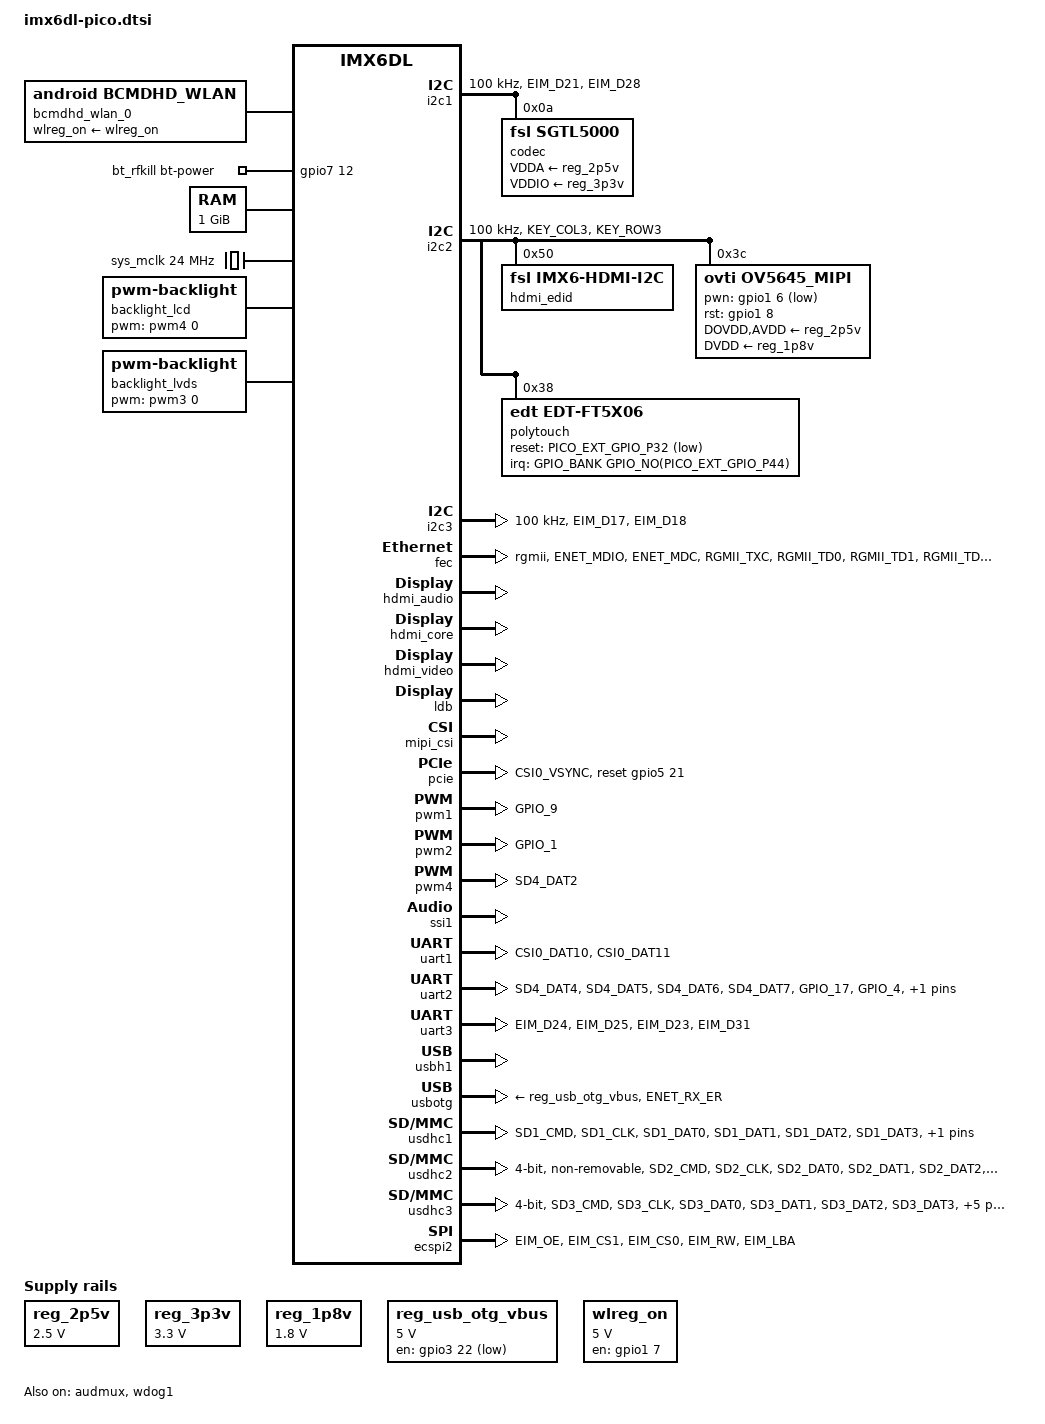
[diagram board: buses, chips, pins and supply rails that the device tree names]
/*
 * Copyright 2016 Technexion Ltd.
 *
 * Author: Wig Cheng <wig.cheng@technexion.com>
 *	   Richard Hu <richard.hu@technexion.com>
 *	   Tapani Utriainen <tapani@technexion.com>
 *
 * This program is free software; you can redistribute it and/or modify
 * it under the terms of the GNU General Public License version 2 as
 * published by the Free Software Foundation.
 *
 */

#include <dt-bindings/gpio/gpio.h>
#include <tnmacro.h>

/* external GPIO */
#define PICO_EXT_GPIO_EXP0 pca9554 0
#define PICO_EXT_GPIO_EXP1 pca9554 1
#define PICO_EXT_GPIO_EXP2 pca9554 2
#define PICO_EXT_GPIO_EXP3 pca9554 3
#define PICO_EXT_GPIO_EXP4 pca9554 4
#define PICO_EXT_GPIO_EXP5 pca9554 5
#define PICO_EXT_GPIO_EXP6 gpio5 30
#define PICO_EXT_GPIO_EXP7 gpio5 27

#define PICO_EXT_GPIO_P24 gpio5 19
#define PICO_EXT_GPIO_P25 gpio5 18
#define PICO_EXT_GPIO_P26 gpio5 21
#define PICO_EXT_GPIO_P28 gpio5 20
#define PICO_EXT_GPIO_P30 gpio5 26
#define PICO_EXT_GPIO_P32 gpio5 27
#define PICO_EXT_GPIO_P34 gpio6 0
#define PICO_EXT_GPIO_P42 gpio5 30
#define PICO_EXT_GPIO_P44 gpio5 31
#define PICO_EXT_GPIO_P48 gpio6 1

#define PICO_EXT_GPIOLED_IOMUX_HOBBIT &pinctrl_ext_gpioled_hobbit

/* audio codec */
#define PICO_AUD_I2S_CHANNEL ssi1
#define PICO_AUD_MUX_INT 1
#define PICO_AUD_MUX_EXT 3
#define PICO_AUD_CLK_SRC clks 201

/* External GPIOs */
#define PICO_EXT_GPIO_IOMUX_HOBBIT &pinctrl_ext_gpio_hobbit
#define PICO_EXT_GPIO_IOMUX_NYMPH &pinctrl_ext_gpio_nymph
#define PICO_EXT_GPIO_IOMUX_DWARF &pinctrl_ext_gpio_dwarf

/* ADS7846 Touch */
#define PICO_EXT_ADS7846_IOMUX_DWARF &pinctrl_ext_gpio_ads7846_touch_irq_dwarf
#define PICO_EXT_ADS7846_IOMUX_HOBBIT &pinctrl_ext_gpio_ads7846_touch_irq_hobbit

/* FT5606 Touch */
#define PICO_EXT_FT5X06_IOMUX_DWARF &pinctrl_ext_gpio_ft5606_touch_irq_dwarf
#define PICO_EXT_FT5X06_IOMUX_HOBBIT &pinctrl_ext_gpio_ft5606_touch_irq_hobbit &pinctrl_ext_gpio_ft5606_touch_reset_hobbit

/* hobbit baseboard bus definitions */
#define PICO_HOBBIT_I2C1 i2c1
#define PICO_HOBBIT_I2C2 i2c2
#define PICO_HOBBIT_I2C3 i2c3
#define PICO_HOBBIT_CSPI2 ecspi2

/* nymph baseboard bus definitions */
#define PICO_NYMPH_I2C1 i2c1
#define PICO_NYMPH_I2C2 i2c2
#define PICO_NYMPH_I2C3 i2c3
#define PICO_NYMPH_CSPI2 ecspi2

/* dwarf baseboard bus definitions */
#define PICO_DWARF_I2C1 i2c1
#define PICO_DWARF_I2C2 i2c2
#define PICO_DWARF_I2C3 i2c3
#define PICO_DWARF_CSPI2 ecspi2

/ {
	aliases {
		mxcfb0 = &mxcfb1;
		mxcfb1 = &mxcfb2;
		mxcfb2 = &mxcfb3;
		mxcfb3 = &mxcfb4;
	};

	chosen {
		stdout-path = &uart1;
	};

	bcmdhd_wlan_0: bcmdhd_wlan@0 {
		compatible = "android,bcmdhd_wlan";
		pinctrl-names = "default";
		pinctrl-0 = <&pinctrl_wifi_ctrl>;
		wlreg_on-supply = <&wlreg_on>;
		status = "okay";
	};

	bt_rfkill {
		compatible = "fsl,mxc_bt_rfkill";
		name = "bt_rfkill";
		bt-power-gpios = <&gpio7 12 0>;
		status = "okay";
	};

	memory: memory {
		reg = <0x10000000 0x40000000>;
	};

	regulators {
		compatible = "simple-bus";
		#address-cells = <1>;
		#size-cells = <0>;

		reg_2p5v: regulator@0 {
			compatible = "regulator-fixed";
			reg = <0>;
			regulator-name = "2P5V";
			regulator-min-microvolt = <2500000>;
			regulator-max-microvolt = <2500000>;
			regulator-always-on;
		};

		reg_3p3v: regulator@1 {
			compatible = "regulator-fixed";
			reg = <1>;
			regulator-name = "3P3V";
			regulator-min-microvolt = <3300000>;
			regulator-max-microvolt = <3300000>;
			regulator-always-on;
		};

		reg_1p8v: 1p8v {
			compatible = "regulator-fixed";
			reg = <2>;
			regulator-name = "1P8V";
			regulator-min-microvolt = <1800000>;
			regulator-max-microvolt = <1800000>;
			regulator-always-on;
		};

		reg_usb_otg_vbus: usb_otg_vbus {
			compatible = "regulator-fixed";
			reg = <3>;
			regulator-name = "usb_otg_vbus";
			regulator-min-microvolt = <5000000>;
			regulator-max-microvolt = <5000000>;
			gpio = <&gpio3 22 GPIO_ACTIVE_HIGH>;
		};

		wlreg_on: wlreg_on {
			compatible = "regulator-fixed";
			regulator-min-microvolt = <5000000>;
			regulator-max-microvolt = <5000000>;
			regulator-name = "wlreg_on";
			gpio = <&gpio1 7 GPIO_ACTIVE_HIGH>;
			enable-active-high;
		};

	};

	gpio-edm {
		compatible = "gpio-edm";

	};

	clocks {
		sys_mclk: clock {
			compatible = "fixed-clock";
			#clock-cells = <0>;
			clock-frequency = <24000000>;
		};
	};

	sound-hdmi {
		compatible = "fsl,imx6q-audio-hdmi",
			     "fsl,imx-audio-hdmi";
		model = "imx-audio-hdmi";
		hdmi-controller = <&hdmi_audio>;
	};

	sound {
		compatible = "fsl,imx-sgtl5000",
			     "fsl,imx-audio-sgtl5000";
		model = "audio-sgtl5000";
		ssi-controller = <&ssi1>;
		audio-codec = <&codec>;
		audio-routing =
			"MIC_IN", "Mic Jack",
			"Mic Jack", "Mic Bias",
			"Headphone Jack", "HP_OUT";
		mux-int-port = <PICO_AUD_MUX_INT>;
		mux-ext-port = <PICO_AUD_MUX_EXT>;
	};

	mxcfb1: fb@0 {
		compatible = "fsl,mxc_sdc_fb";
		disp_dev = "ldb";
		interface_pix_fmt = "RGB24";
		default_bpp = <32>;
		int_clk = <0>;
		late_init = <0>;
		status = "disabled";
	};

	mxcfb2: fb@1 {
		compatible = "fsl,mxc_sdc_fb";
		disp_dev = "hdmi";
		interface_pix_fmt = "RGB24";
		mode_str ="1920x1080M@60";
		default_bpp = <24>;
		int_clk = <0>;
		late_init = <0>;
		status = "disabled";
	};

	mxcfb3: fb@2 {
		compatible = "fsl,mxc_sdc_fb";
		disp_dev = "lcd";
		interface_pix_fmt = "RGB565";
		mode_str ="CLAA-WVGA";
		default_bpp = <16>;
		int_clk = <0>;
		late_init = <0>;
		status = "disabled";
	};

	mxcfb4: fb@3 {
		compatible = "fsl,mxc_sdc_fb";
		disp_dev = "ldb";
		interface_pix_fmt = "RGB666";
		default_bpp = <16>;
		int_clk = <0>;
		late_init = <0>;
		status = "disabled";
	};

	lcd@0 {
		compatible = "fsl,lcd";
		ipu_id = <0>;
		disp_id = <0>;
		default_ifmt = "RGB565";
		pinctrl-names = "default";
		pinctrl-0 = <&pinctrl_ipu1>;
		status = "okay";
	};

	backlight_lcd {
		compatible = "pwm-backlight";
		pwms = <&pwm4 0 5000000>;
		brightness-levels = <0 4 8 16 32 64 128 255>;
		default-brightness-level = <7>;
	};

	backlight_lvds {
		compatible = "pwm-backlight";
		pwms = <&pwm3 0 5000000>;
		brightness-levels = <0 4 8 16 32 64 128 255>;
		default-brightness-level = <7>;
	};

	v4l2_cap_0 {
		compatible = "fsl,imx6q-v4l2-capture";
		ipu_id = <0>;
		csi_id = <0>;
		mclk_source = <0>;
		status = "okay";
	};

	v4l2_out {
		compatible = "fsl,mxc_v4l2_output";
		status = "okay";
	};

};


&audmux {
	pinctrl-names = "default";
	pinctrl-0 = <&pinctrl_audmux>;
	status = "okay";
};

&i2c1 {
	clock-frequency = <100000>;
	pinctrl-names = "default";
	pinctrl-0 = <&pinctrl_i2c1>;
	status = "okay";

	codec: sgtl5000@0a {
		compatible = "fsl,sgtl5000";
		reg = <0x0a>;
		clocks = <&sys_mclk 1>;
		VDDA-supply = <&reg_2p5v>;
		VDDIO-supply = <&reg_3p3v>;
	};

};

&i2c2 {
	clock-frequency = <100000>;
	pinctrl-names = "default";
	pinctrl-0 = <&pinctrl_i2c2>;
	status = "okay";

	hdmi_edid: edid@50 {
		compatible = "fsl,imx6-hdmi-i2c";
		reg = <0x50>;
	};

	ov5645_mipi: ov5645_mipi@3c {
		compatible = "ovti,ov5645_mipi";
		pinctrl-names = "default";
		pinctrl-0 = <&pinctrl_mipi_csi>; /* GPIO_P69:mipi clock, GPIO_P67:power on, GPIO_P65:reset */
		reg = <0x3c>;
		clocks = <&clks 200>;
		clock-names = "csi_mclk";
		DOVDD-supply = <&reg_2p5v>;
		AVDD-supply = <&reg_2p5v>;
		DVDD-supply = <&reg_1p8v>;
		pwn-gpios = <&gpio1 6 1>;
		rst-gpios = <&gpio1 8 0>;
		ipu_id = <0>;
		csi_id = <0>;
		mclk = <24000000>;
		mclk_source = <0>;
	};

        polytouch: edt-ft5x06@38 {
                compatible = "edt,edt-ft5x06";
                pinctrl-names = "default";
                pinctrl-0 = <&pinctrl_touch_screen>;
                reg = <0x38>;
                interrupt-parent = <&GPIO_BANK(PICO_EXT_GPIO_P44)>;
                interrupts = <GPIO_NO(PICO_EXT_GPIO_P44) 0>;
                reset-gpios = <&PICO_EXT_GPIO_P32 GPIO_ACTIVE_LOW>;
                touchscreen-size-x = <800>;
                touchscreen-size-y = <480>;
        };
};

&i2c3 {
	clock-frequency = <100000>;
	pinctrl-names = "default";
	pinctrl-0 = <&pinctrl_i2c3>;
	status = "okay";
};


&iomuxc {
	pinctrl-names = "default";
	pinctrl-0 = <&pinctrl_hog_1>;

	imx6qdl-pico {

		pinctrl_hog_1: hoggrp-1 {
			fsl,pins = <
				MX6QDL_PAD_GPIO_0__CCM_CLKO1     	0x130b0
				MX6QDL_PAD_EIM_D22__USB_OTG_PWR		0x80000000	/* USB Power Enable */
				MX6QDL_PAD_GPIO_2__GPIO1_IO02		0x80000000	/* USDHC1 CD */
				MX6QDL_PAD_EIM_DA9__GPIO3_IO09		0x80000000	/* uSDHC3 CD */
			/*	MX6QDL_PAD_GPIO_0__CCM_CLKO1		0x000b0		 SGTL5000 sys_mclk */
				MX6QDL_PAD_ENET_RXD0__XTALOSC_REF_CLK_32K	0x000b0 /* WiFi BT LPO 32K Hz clock */
				MX6QDL_PAD_SD4_DAT1__GPIO2_IO09		0x4001b0b5
				MX6QDL_PAD_EIM_DA9__GPIO3_IO09		0x4001b0b5
				MX6QDL_PAD_KEY_ROW2__GPIO4_IO11		0x4001b0b5
				MX6QDL_PAD_KEY_COL2__GPIO4_IO10		0x4001b0b5
				MX6QDL_PAD_KEY_ROW4__GPIO4_IO15		0x4001b0b5
				MX6QDL_PAD_KEY_COL4__GPIO4_IO14		0x4001b0b5
				MX6QDL_PAD_CSI0_MCLK__GPIO5_IO19	0x4001b0b5
				MX6QDL_PAD_CSI0_VSYNC__GPIO5_IO21	0x4001b0b5
				MX6QDL_PAD_CSI0_DATA_EN__GPIO5_IO20	0x4001b0b5
				MX6QDL_PAD_CSI0_DAT8__GPIO5_IO26	0x4001b0b5
				MX6QDL_PAD_CSI0_DAT14__GPIO6_IO00	0x4001b0b5
				MX6QDL_PAD_CSI0_DAT15__GPIO6_IO01	0x4001b0b5

			>;
		};


		pinctrl_ext_gpio_hobbit: ext-gpio-grp-hobbit {
			fsl,pins = <
				MX6QDL_PAD_CSI0_MCLK__GPIO5_IO19	0x4001b0b5 /* GPIO5_19 pico pin 24 */
				MX6QDL_PAD_CSI0_VSYNC__GPIO5_IO21	0x4001b0b5 /* GPIO5_21 pico pin 26 */
				MX6QDL_PAD_CSI0_DATA_EN__GPIO5_IO20	0x4001b0b5 /* GPIO5_20 pico pin 28 */
				MX6QDL_PAD_CSI0_DAT8__GPIO5_IO26	0x4001b0b5 /* GPIO5_26 pico pin 30 */
				MX6QDL_PAD_CSI0_DAT14__GPIO6_IO00	0x4001b0b5 /* GPIO6_00 pico pin 34 */
			>;
		};

		pinctrl_ext_gpio_nymph: ext-gpio-grp-nymph {
			fsl,pins = <
				MX6QDL_PAD_CSI0_MCLK__GPIO5_IO19        0x4001b0b5 /* GPIO5_19 pico pin 24 */
				MX6QDL_PAD_CSI0_VSYNC__GPIO5_IO21       0x4001b0b5 /* GPIO5_21 pico pin 26 */
				MX6QDL_PAD_CSI0_DATA_EN__GPIO5_IO20     0x4001b0b5 /* GPIO5_20 pico pin 28 */
				MX6QDL_PAD_CSI0_DAT8__GPIO5_IO26        0x4001b0b5 /* GPIO5_26 pico pin 30 */
				MX6QDL_PAD_CSI0_DAT14__GPIO6_IO00       0x4001b0b5 /* GPIO6_00 pico pin 34 */
			>;
		};

		pinctrl_ext_gpio_dwarf: ext-gpio-grp-dwarf {
			fsl,pins = <
				MX6QDL_PAD_CSI0_MCLK__GPIO5_IO19        0x4001b0b5 /* GPIO5_19 pico pin 24 */
				MX6QDL_PAD_CSI0_VSYNC__GPIO5_IO21       0x4001b0b5 /* GPIO5_21 pico pin 26 */
				MX6QDL_PAD_CSI0_DATA_EN__GPIO5_IO20     0x4001b0b5 /* GPIO5_20 pico pin 28 */
				MX6QDL_PAD_CSI0_DAT8__GPIO5_IO26        0x4001b0b5 /* GPIO5_26 pico pin 30 */
				MX6QDL_PAD_CSI0_DAT14__GPIO6_IO00       0x4001b0b5 /* GPIO6_00 pico pin 34 */
			>;
		};

		pinctrl_ext_gpio_ads7846_touch_irq_dwarf: ext-gpio-ads7846-touch-irq-dwarf {
			fsl,pins = <
				MX6QDL_PAD_CSI0_DAT9__GPIO5_IO27	0x80000000	/* resistive touch irq for Dwarf baseboard */
			>;
		};

		pinctrl_ext_gpio_ads7846_touch_irq_hobbit: ext-gpio-ads7846-touch-irq-hobbit {
			fsl,pins = <
				MX6QDL_PAD_CSI0_DAT15__GPIO6_IO01	0x80000000	/* resistive touch irq for hobbit baseboard */
			>;
		};

		pinctrl_ext_gpio_ft5606_touch_irq_dwarf: ext-gpio-ft5606-touch-irq-dwarf {
			fsl,pins = <
				MX6QDL_PAD_CSI0_DAT12__GPIO5_IO30  0x4001b0b5 /* capacitive touch irq for dwarf baseboard */
			>;
		};

		pinctrl_ext_gpio_ft5606_touch_irq_hobbit: ext-gpio-ft5606-touch-irq-hobbit {
			fsl,pins = <
				MX6QDL_PAD_CSI0_PIXCLK__GPIO5_IO18  0x4001b0b5 /* capacitive touch irq for hobbit baseboard */
			>;
		};

		pinctrl_ext_gpio_ft5606_touch_reset_hobbit: ext-gpio-ft5606-touch-reset-hobbit {
			fsl,pins = <
				MX6QDL_PAD_CSI0_DAT9__GPIO5_IO27  0x4001b0b5 /* capacitive touch reset for hobbit baseboard */
			>;
		};

		pinctrl_gpio: gpiogrp {
			fsl,pins = <
				MX6QDL_PAD_EIM_DA12__GPIO3_IO12   0x4001b0b5 /* GPIO3_12 EDM pin 255 */
				MX6QDL_PAD_EIM_DA11__GPIO3_IO11   0x4001b0b5 /* GPIO3_11 EDM pin 256 */
				MX6QDL_PAD_EIM_DA10__GPIO3_IO10   0x4001b0b5 /* GPIO3_10 EDM pin 257 */
				MX6QDL_PAD_EIM_D27__GPIO3_IO27    0x4001b0b5 /* GPIO3_27 EDM pin 258 */
				MX6QDL_PAD_EIM_D26__GPIO3_IO26    0x4001b0b5 /* GPIO3_26 EDM pin 259 */
				MX6QDL_PAD_EIM_BCLK__GPIO6_IO31   0x4001b0b5 /* GPIO6_31 EDM pin 260 */
				MX6QDL_PAD_EIM_DA8__GPIO3_IO08    0x4001b0b5 /* GPIO3_8  EDM pin 261 */
				MX6QDL_PAD_GPIO_19__GPIO4_IO05    0x4001b0b5 /* GPIO4_5  EDM pin 263 */
				MX6QDL_PAD_SD3_RST__GPIO7_IO08    0x4001b0b5 /* GPIO7_8  EDM pin 264 */
			>;
		};

		pinctrl_wifi_ctrl: wifi_ctrlgrp {
			fsl,pins = <
				MX6QDL_PAD_GPIO_7__GPIO1_IO07	0x000b0		/* wifi-reg-on */
				MX6QDL_PAD_GPIO_16__GPIO7_IO11	0x80000000	/* wifi-host-wake */
			>;
		};

		pinctrl_bt_ctrl: bt_ctrlgrp {
			fsl,pins = <
				MX6QDL_PAD_GPIO_17__GPIO7_IO12	0x000b0		/* bluetooth-reg-on */
				MX6QDL_PAD_GPIO_4__GPIO1_IO04	0x000b0		/* bluetooth-wake */
				MX6QDL_PAD_GPIO_5__GPIO1_IO05   0x000b0		/* bluetooth-host-wake */
			>;
		};

		pinctrl_audmux: audmuxgrp {
			fsl,pins = <
				MX6QDL_PAD_CSI0_DAT7__AUD3_RXD		0x130b0
				MX6QDL_PAD_CSI0_DAT4__AUD3_TXC		0x130b0
				MX6QDL_PAD_CSI0_DAT5__AUD3_TXD		0x110b0
				MX6QDL_PAD_CSI0_DAT6__AUD3_TXFS		0x130b0
			>;
		};

		pinctrl_ecspi1: ecspi1grp {
			fsl,pins = <
				MX6QDL_PAD_EIM_D17__ECSPI1_MISO 0x100b1
				MX6QDL_PAD_EIM_D18__ECSPI1_MOSI 0x100b1
				MX6QDL_PAD_EIM_D16__ECSPI1_SCLK 0x100b1
				MX6QDL_PAD_EIM_EB2__GPIO2_IO30  0x000f0b0 /* cs0 */
			>;
		};

		pinctrl_ecspi2: ecspi2grp {
			fsl,pins = <
				MX6QDL_PAD_EIM_OE__ECSPI2_MISO  0x1b0b1
				MX6QDL_PAD_EIM_CS1__ECSPI2_MOSI 0x1b0b1
				MX6QDL_PAD_EIM_CS0__ECSPI2_SCLK 0x1b0b1
				MX6QDL_PAD_EIM_RW__GPIO2_IO26 0x000f0b0
				MX6QDL_PAD_EIM_LBA__GPIO2_IO27 0x000f0b0
			>;
		};

		pinctrl_enet: enetgrp {
			fsl,pins = <
				MX6QDL_PAD_ENET_MDIO__ENET_MDIO		0x1b0b0
				MX6QDL_PAD_ENET_MDC__ENET_MDC		0x1b0b0
				MX6QDL_PAD_RGMII_TXC__RGMII_TXC		0x1b0b0
				MX6QDL_PAD_RGMII_TD0__RGMII_TD0		0x1b0b0
				MX6QDL_PAD_RGMII_TD1__RGMII_TD1		0x1b0b0
				MX6QDL_PAD_RGMII_TD2__RGMII_TD2		0x1b0b0
				MX6QDL_PAD_RGMII_TD3__RGMII_TD3		0x1b0b0
				MX6QDL_PAD_RGMII_TX_CTL__RGMII_TX_CTL	0x1b0b0
				MX6QDL_PAD_ENET_REF_CLK__ENET_TX_CLK	0x1b0b0
				MX6QDL_PAD_RGMII_RXC__RGMII_RXC		0x1b0b0
				MX6QDL_PAD_RGMII_RD0__RGMII_RD0		0x1b0b0
				MX6QDL_PAD_RGMII_RD1__RGMII_RD1		0x1b0b0
				MX6QDL_PAD_RGMII_RD2__RGMII_RD2		0x1b0b0
				MX6QDL_PAD_RGMII_RD3__RGMII_RD3		0x1b0b0
				MX6QDL_PAD_RGMII_RX_CTL__RGMII_RX_CTL	0x1b0b0
				MX6QDL_PAD_ENET_TX_EN__ENET_TX_EN	0x1b0b0
				MX6QDL_PAD_ENET_RXD1__GPIO1_IO26	0x1f0b1		/* RGMII PHY reset */
			>;
		};

		pinctrl_i2c1: i2c1grp {
			fsl,pins = <
				MX6QDL_PAD_EIM_D21__I2C1_SCL 		0x4001b8b1
				MX6QDL_PAD_EIM_D28__I2C1_SDA 		0x4001b8b1
			>;
		};

		pinctrl_i2c2: i2c2grp {
			fsl,pins = <
				MX6QDL_PAD_KEY_COL3__I2C2_SCL		0x4001b8b1
				MX6QDL_PAD_KEY_ROW3__I2C2_SDA		0x4001b8b1
			>;
		};

		pinctrl_i2c3: i2c3grp {
			fsl,pins = <
				MX6QDL_PAD_EIM_D17__I2C3_SCL 0x4001b8b1
				MX6QDL_PAD_EIM_D18__I2C3_SDA 0x4001b8b1
			>;
		};

		pinctrl_ipu1: ipu1grp {
			fsl,pins = <
				MX6QDL_PAD_DI0_DISP_CLK__IPU1_DI0_DISP_CLK 0x10
				MX6QDL_PAD_DI0_PIN15__IPU1_DI0_PIN15       0x10
				MX6QDL_PAD_DI0_PIN2__IPU1_DI0_PIN02        0x10
				MX6QDL_PAD_DI0_PIN3__IPU1_DI0_PIN03        0x10
				MX6QDL_PAD_DI0_PIN4__IPU1_DI0_PIN04        0x80000000
				MX6QDL_PAD_DISP0_DAT0__IPU1_DISP0_DATA00   0x10
				MX6QDL_PAD_DISP0_DAT1__IPU1_DISP0_DATA01   0x10
				MX6QDL_PAD_DISP0_DAT2__IPU1_DISP0_DATA02   0x10
				MX6QDL_PAD_DISP0_DAT3__IPU1_DISP0_DATA03   0x10
				MX6QDL_PAD_DISP0_DAT4__IPU1_DISP0_DATA04   0x10
				MX6QDL_PAD_DISP0_DAT5__IPU1_DISP0_DATA05   0x10
				MX6QDL_PAD_DISP0_DAT6__IPU1_DISP0_DATA06   0x10
				MX6QDL_PAD_DISP0_DAT7__IPU1_DISP0_DATA07   0x10
				MX6QDL_PAD_DISP0_DAT8__IPU1_DISP0_DATA08   0x10
				MX6QDL_PAD_DISP0_DAT9__IPU1_DISP0_DATA09   0x10
				MX6QDL_PAD_DISP0_DAT10__IPU1_DISP0_DATA10  0x10
				MX6QDL_PAD_DISP0_DAT11__IPU1_DISP0_DATA11  0x10
				MX6QDL_PAD_DISP0_DAT12__IPU1_DISP0_DATA12  0x10
				MX6QDL_PAD_DISP0_DAT13__IPU1_DISP0_DATA13  0x10
				MX6QDL_PAD_DISP0_DAT14__IPU1_DISP0_DATA14  0x10
				MX6QDL_PAD_DISP0_DAT15__IPU1_DISP0_DATA15  0x10
				MX6QDL_PAD_DISP0_DAT16__IPU1_DISP0_DATA16  0x10
				MX6QDL_PAD_DISP0_DAT17__IPU1_DISP0_DATA17  0x10
				MX6QDL_PAD_DISP0_DAT18__IPU1_DISP0_DATA18  0x10
				MX6QDL_PAD_DISP0_DAT19__IPU1_DISP0_DATA19  0x10
				MX6QDL_PAD_DISP0_DAT20__IPU1_DISP0_DATA20  0x10
				MX6QDL_PAD_DISP0_DAT21__IPU1_DISP0_DATA21  0x10
				MX6QDL_PAD_DISP0_DAT22__IPU1_DISP0_DATA22  0x10
				MX6QDL_PAD_DISP0_DAT23__IPU1_DISP0_DATA23  0x10
			>;
		};

		pinctrl_pwm1: pwm1grp {
			fsl,pins = <
				MX6QDL_PAD_GPIO_9__PWM1_OUT 0x1b0b1
			>;
		};

		pinctrl_pwm2: pwm2grp {
			fsl,pins = <
				MX6QDL_PAD_GPIO_1__PWM2_OUT 0x1b0b1
			>;
		};

		pinctrl_pwm3: pwm3grp {
			fsl,pins = <
				MX6QDL_PAD_SD4_DAT1__PWM3_OUT 0x1b0b1
			>;
		};

		pinctrl_pwm4: pwm4grp {
			fsl,pins = <
				MX6QDL_PAD_SD4_DAT2__PWM4_OUT 0x1b0b1
			>;
		};

		pinctrl_uart1: uart1grp {
			fsl,pins = <
				MX6QDL_PAD_CSI0_DAT10__UART1_TX_DATA	0x1b0b1
				MX6QDL_PAD_CSI0_DAT11__UART1_RX_DATA	0x1b0b1
			>;
		};

		pinctrl_uart2: uart2grp {
			fsl,pins = <
				MX6QDL_PAD_SD4_DAT4__UART2_RX_DATA 0x1b0b1
				MX6QDL_PAD_SD4_DAT5__UART2_RTS_B 0x1b0b1
				MX6QDL_PAD_SD4_DAT6__UART2_CTS_B 0x1b0b1
				MX6QDL_PAD_SD4_DAT7__UART2_TX_DATA 0x1b0b1
			>;
		};

		pinctrl_uart3: uart3grp {
			fsl,pins = <
				MX6QDL_PAD_EIM_D24__UART3_TX_DATA	0x1b0b1
				MX6QDL_PAD_EIM_D25__UART3_RX_DATA	0x1b0b1
				MX6QDL_PAD_EIM_D23__UART3_CTS_B		0x1b0b1
				MX6QDL_PAD_EIM_D31__UART3_RTS_B   0x1b0b1
			>;
		};

		pinctrl_usbotg: usbotggrp {
			fsl,pins = <
				MX6QDL_PAD_ENET_RX_ER__USB_OTG_ID	0x17059
			>;
		};

		pinctrl_usdhc1: usdhc1grp {
			fsl,pins = <
				MX6QDL_PAD_SD1_CMD__SD1_CMD		0x17071
				MX6QDL_PAD_SD1_CLK__SD1_CLK		0x17071
				MX6QDL_PAD_SD1_DAT0__SD1_DATA0		0x17071
				MX6QDL_PAD_SD1_DAT1__SD1_DATA1		0x17071
				MX6QDL_PAD_SD1_DAT2__SD1_DATA2		0x17071
				MX6QDL_PAD_SD1_DAT3__SD1_DATA3		0x17071
			>;
		};

		pinctrl_usdhc2: usdhc2grp {
			fsl,pins = <
				MX6QDL_PAD_SD2_CMD__SD2_CMD		0x17059
				MX6QDL_PAD_SD2_CLK__SD2_CLK		0x10059
				MX6QDL_PAD_SD2_DAT0__SD2_DATA0		0x17059
				MX6QDL_PAD_SD2_DAT1__SD2_DATA1		0x17059
				MX6QDL_PAD_SD2_DAT2__SD2_DATA2		0x17059
				MX6QDL_PAD_SD2_DAT3__SD2_DATA3		0x17059
			>;
		};

		pinctrl_usdhc3: usdhc3grp {
			fsl,pins = <
				MX6QDL_PAD_SD3_CMD__SD3_CMD		0x17059
				MX6QDL_PAD_SD3_CLK__SD3_CLK		0x10059
				MX6QDL_PAD_SD3_DAT0__SD3_DATA0		0x17059
				MX6QDL_PAD_SD3_DAT1__SD3_DATA1		0x17059
				MX6QDL_PAD_SD3_DAT2__SD3_DATA2		0x17059
				MX6QDL_PAD_SD3_DAT3__SD3_DATA3		0x17059
		/* The below pins are NC on SD version, but used on eMMC version */
				MX6QDL_PAD_SD3_DAT4__SD3_DATA4		0x17059
				MX6QDL_PAD_SD3_DAT5__SD3_DATA5		0x17059
				MX6QDL_PAD_SD3_DAT6__SD3_DATA6		0x17059
				MX6QDL_PAD_SD3_DAT7__SD3_DATA7		0x17059
			>;
		};

		pinctrl_pcie_reset: pciegrp {
			fsl,pins = <
				MX6QDL_PAD_CSI0_VSYNC__GPIO5_IO21 0x130b0			/* PCIE_nRST */
			>;
		};

		pinctrl_flexcan1: flexcan1grp {
			fsl,pins = <
				MX6QDL_PAD_KEY_COL2__FLEXCAN1_TX 0x80000000
				MX6QDL_PAD_KEY_ROW2__FLEXCAN1_RX 0x80000000
			>;
		};

		pinctrl_flexcan2: flexcan2grp {
			fsl,pins = <
				MX6QDL_PAD_KEY_COL4__FLEXCAN2_TX 0x80000000
				MX6QDL_PAD_KEY_ROW4__FLEXCAN2_RX 0x80000000
			>;
		};

		pinctrl_ext_gpioled_hobbit: gpioledgrp {
			fsl,pins = <
				MX6QDL_PAD_CSI0_DAT13__GPIO5_IO31 0x130b0
			>;
		};

		pinctrl_mipi_csi: mipicsigrp {
			fsl,pins = <
				MX6QDL_PAD_GPIO_6__GPIO1_IO06		0x0b0b0		/* ov5640 mipi powerdown */
				MX6QDL_PAD_GPIO_8__GPIO1_IO08		0x0b0b0		/* ov5640 mipi reset */
				MX6QDL_PAD_GPIO_3__CCM_CLKO2		0x000b0		/* ov5640 mclk */
			>;
		};

		pinctrl_touch_screen:touchscreen {
			fsl,pins = <
				MX6QDL_PAD_CSI0_DAT13__GPIO5_IO31	0x15		/* interrupt */
				MX6QDL_PAD_CSI0_DAT9__GPIO5_IO27	0x15		/* reset */
			>;
		};
	};
};

&clks {
	fsl,ldb-di0-parent = <&clks IMX6QDL_CLK_PLL2_PFD0_352M>;
	fsl,ldb-di1-parent = <&clks IMX6QDL_CLK_PLL2_PFD0_352M>;
};

&fec {
	pinctrl-names = "default";
	pinctrl-0 = <&pinctrl_enet>;
	phy-mode = "rgmii";
	phy-reset-gpios = <&gpio1 26 0>;
	status = "okay";
};

&hdmi_audio {
	status = "okay";
};

&hdmi_core {
	ipu_id = <0>;
	disp_id = <1>;
	status = "okay";
};

&hdmi_video {
	fsl,phy_reg_vlev = <0x0294>;
	fsl,phy_reg_cksymtx = <0x800d>;
	status = "okay";
};

&ldb {
	status = "okay";
	lvds-channel@0 {
		fsl,data-mapping = "spwg";
		fsl,data-width = <24>;
		primary;
		status = "okay";

		display-timings {
			native-mode = <&timing0>;
			timing0: EJ050NA {
				clock-frequency = <33260000>;
				hactive = <800>;
				vactive = <480>;
				hback-porch = <11>;
				hfront-porch = <11>;
				vback-porch = <12>;
				vfront-porch = <11>;
				hsync-len = <46>;
				vsync-len = <210>;
			};
		};
	};
};

&mipi_csi {
	ipu_id = <0>;
	csi_id = <0>;
	v_channel = <0>;
	lanes = <2>;
	status = "okay";
};

&pcie {
	pinctrl-names = "default";
	pinctrl-0 = <&pinctrl_pcie_reset>;
	reset-gpio = <&gpio5 21 0>;
	status = "okay";
};

&pwm1 {
	pinctrl-names = "default";
	pinctrl-0 = <&pinctrl_pwm1>;
	status = "okay";
};

&pwm2 {
	pinctrl-names = "default";
	pinctrl-0 = <&pinctrl_pwm2>;
	status = "okay";
};

&pwm3 {
	status = "disabled";
};

&pwm4 {
	pinctrl-names = "default";
	pinctrl-0 = <&pinctrl_pwm4>;
	status = "okay";
};

&ssi1 {
	status = "okay";
};

&uart1 {
	pinctrl-names = "default";
	pinctrl-0 = <&pinctrl_uart1>;
	fsl,uart-has-rtscts;
	status = "okay";
};

&uart2 {  /* Bluetooth module */
	pinctrl-names = "default";
	pinctrl-0 = <&pinctrl_uart2 &pinctrl_bt_ctrl>;
	fsl,uart-has-rtscts;
	status = "okay";
};

&uart3 {
	pinctrl-names = "default";
	pinctrl-0 = <&pinctrl_uart3>;
	fsl,uart-has-rtscts;
	status = "okay";
};

&usbh1 {
	status = "okay";
};

&usbotg {
	vbus-supply = <&reg_usb_otg_vbus>;
	pinctrl-names = "default";
	pinctrl-0 = <&pinctrl_usbotg>;
	disable-over-current;
	srp-disable;
	hnp-disable;
	adp-disable;
	status = "okay";
};

&usdhc1 {
	pinctrl-names = "default";
	pinctrl-0 = <&pinctrl_usdhc1>;
	cd-gpios = <&gpio3 9 GPIO_ACTIVE_LOW>;
	status = "okay";
};

&usdhc2 {  /* Broadcom Wifi/BT  */
	pinctrl-names = "default";
	pinctrl-0 = <&pinctrl_usdhc2>;
	bus-width = <4>;
	no-1-8-v;
	keep-power-in-suspend;
	non-removable;
	cd-post;
	pm-ignore-notify;
	wifi-host;
	status = "okay";
};

&usdhc3 {
	pinctrl-names = "default";
	pinctrl-0 = <&pinctrl_usdhc3>;
	bus-width = <4>;
	cd-gpios = <&gpio1 2 GPIO_ACTIVE_LOW>;
	status = "okay";
};

&wdog1 {
	status = "okay";
};

&ecspi2 {
	fsl,spi-num-chipselects = <2>;
	cs-gpios = <&gpio2 27 0>, <&gpio2 26 0>; /* CS0 */
	pinctrl-names = "default";
	pinctrl-0 = <&pinctrl_ecspi2>;
	status = "okay";
};

&can1 {
	status = "disabled";
};

&can2 {
	status = "disabled";
};
